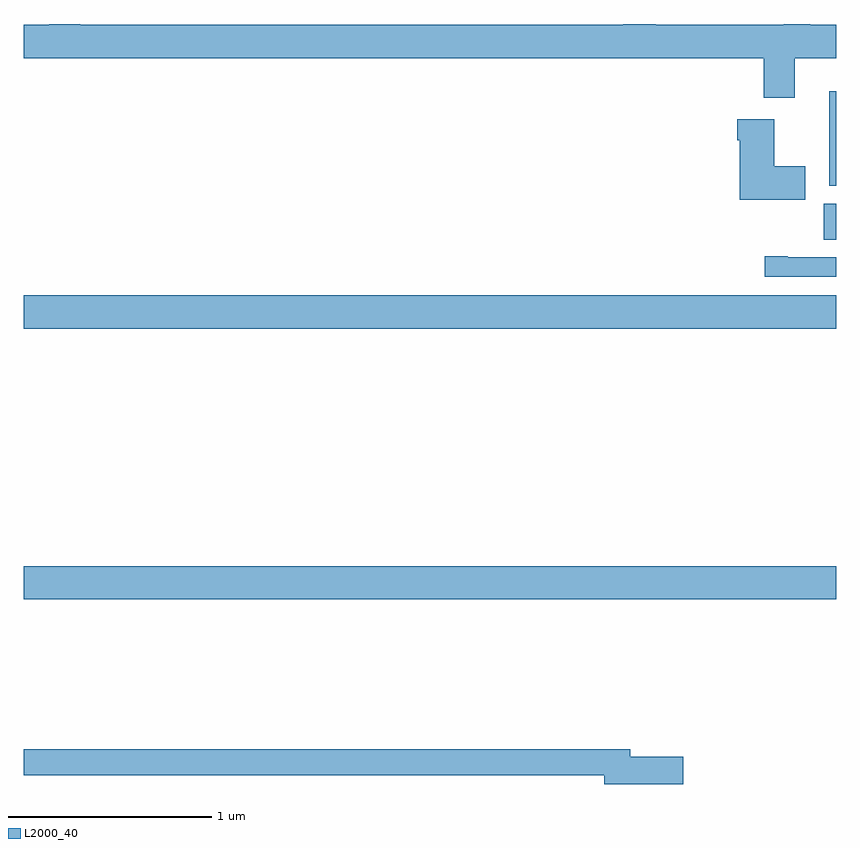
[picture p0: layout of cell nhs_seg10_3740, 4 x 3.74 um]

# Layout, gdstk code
import gdstk
lib = gdstk.Library(unit=1e-6, precision=1e-09)
def R(c, l, rs):  # rectangles x0, y0, x1, y1
    for r in rs: c.add(gdstk.rectangle(r[:2], r[2:], *l))
def P(c, l, *ps):  # polygons
    for p in ps: c.add(gdstk.Polygon(p, *l))
L2000_40 = (2000, 40)

nhs_seg10_3740 = lib.new_cell('nhs_seg10_3740')
R(nhs_seg10_3740, L2000_40, [(315,1281.668,319,1281.832), (315,1283,319,1283.164), (318.938,1283.437,319,1283.616), (318.965,1283.705,319,1284.169)])
P(nhs_seg10_3740, L2000_40, [(318.644,1284.138),(318.796,1284.138),(318.796,1284.332),(319,1284.332),(319,1284.496),(318.872,1284.496),(318.872,1284.5),(318.741,1284.5),(318.741,1284.496),(318.111,1284.496),(318.111,1284.5),(317.951,1284.5),(317.951,1284.496),(315.278,1284.496),(315.278,1284.5),(315.125,1284.5),(315.125,1284.496),(315,1284.496),(315,1284.332),(318.644,1284.332)],
  [(318.847,1283.799),(318.694,1283.799),(318.694,1284.031),(318.512,1284.031),(318.512,1283.927),(318.524,1283.927),(318.524,1283.636),(318.847,1283.636)],
  [(319,1283.352),(318.76,1283.352),(318.76,1283.357),(318.648,1283.357),(318.648,1283.256),(319,1283.256)],
  [(318.247,1280.894),(317.986,1280.894),(317.986,1280.93),(315,1280.93),(315,1280.802),(317.858,1280.802),(317.858,1280.759),(318.247,1280.759)])

lib.write_gds('nhs_seg10_3740.gds')
